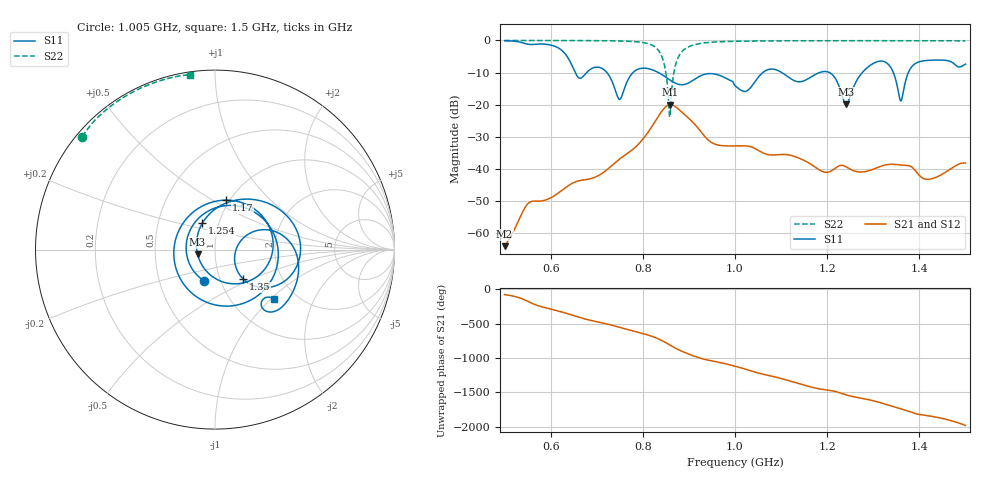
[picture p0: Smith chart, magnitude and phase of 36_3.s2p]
! TOUCHSTONE file generated by CST MICROWAVE STUDIO
! Date and time: Fri Dec 11 14:17:13 2020
! Project name: Scenario_1_Planar_Body_Tissue_Out_of_Line_v2.cst
! Parameters = {dy1=259.5; L_HA=400; Ltissue=700; MT=2.54; Rad_Dielectric=30; Rad_Lower=7.3; Rad_Upper=30; Wtissue=700; a_HA=580; a_WG=246; b_HA=500; b_WG=121; c_HA=0; c_WG=187; d_feed=85; dx1=520; h_feed=15; h_lower=18; h_upper=40; hfat=3; hgap=25; hmuscle=50; hskin=1.5}
! Header version: 2018
! Port assignment regex: !\s*Touchstone port\s*([0-9]+)\s*=\s*(CST MWS port|CST DS port)\s*([0-9]+|Zmin|Zmax)\s*\(\"(.*)\"\)(\s*mode\s*([0-9]+))?.*
! Touchstone port assignment:
! Touchstone port 1 = CST MWS port 1 ("")
! Touchstone port 2 = CST MWS port 2 ("")
# GHz S DB R 50
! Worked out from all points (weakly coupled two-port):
!   1003 points, 500 MHz to 1.5 GHz, reference 50 ohm
!   highest |S21| = -20.02 dB at 860 MHz (marker M1); lowest = -64.1 dB at 500 MHz (marker M2)
!   lowest |S11| = -20.0 dB at 1.241 GHz (marker M3), VSWR 1.22, Z = 41.1 - j2.12 ohm
!   |S11| at or under -10 dB: 833.6 MHz to 1.061 GHz (226.9 MHz wide, 24 % of centre); 1.101 GHz to 1.184 GHz (82.25 MHz wide, 7.2 % of centre); 1.205 GHz to 1.276 GHz (71.49 MHz wide, 5.76 % of centre) (the widest 3 of 6)
!   |S22| runs from -23.9 to 0.0 dB; largest |S21 - S12| = 5.3e-06
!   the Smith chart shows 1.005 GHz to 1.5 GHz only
!   S11 on the Smith chart (normalised r, x): 1.005 GHz: 0.83, -0.30; 1.17 GHz: 0.97, +0.58; 1.254 GHz: 0.83, +0.25; 1.35 GHz: 1.28, -0.44; 1.5 GHz: 1.55, -1.04
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0.5  -0.09 -121.9  -64.13 -73.8  -64.13 -73.8  -0.01 151.2
0.598  -1.38 -175.0  -49.21 77.4  -49.21 77.4  -0.02 144.3
0.633  -4.46 147.5  -45.82 14.5  -45.82 14.5  -0.03 141.5
0.667  -11.64 160.1  -43.58 -56.4  -43.58 -56.4  -0.04 138.4
0.743  -16.72 20.1  -37.71 -179.9  -37.71 -179.9  -0.14 128.8
0.789  -8.99 162.0  -32.54 97.0  -32.54 97.0  -0.46 117.5
0.834  -10.03 57.1  -23.61 -2.0  -23.61 -2.0  -3.12 84.5
0.86  -12.46 -12.7  -20.02 -96.9  -20.02 -96.9  -21.13 -96.5
0.888  -13.78 -106.8  -22.78 168.9  -22.78 168.9  -3.02 178.2
0.934  -10.56 85.8  -29.86 60.1  -29.86 60.1  -0.76 153.5
1  -14.10 -95.6  -32.89 -39.8  -32.89 -39.8  -0.27 140.3
1.005  -14.71 -109.8  -32.87 -48.8  -32.87 -48.8  -0.25 139.7
1.051  -11.40 65.5  -34.32 -140.6  -34.32 -140.6  -0.17 134.4
1.103  -10.14 -87.2  -35.53 135.1  -35.53 135.1  -0.12 129.5
1.167  -11.22 84.4  -38.80 12.9  -38.80 12.9  -0.10 124.3
1.17  -10.97 77.0  -39.09 8.0  -39.09 8.0  -0.10 124.0
1.203  -9.88 -2.0  -41.03 -30.4  -41.03 -30.4  -0.09 121.5
1.241  -19.96 -165.3  -39.39 -98.7  -39.39 -98.7  -0.09 118.6
1.254  -15.72 115.3  -40.40 -120.3  -40.41 -120.3  -0.08 117.6
1.334  -7.63 -26.7  -38.64 110.2  -38.64 110.2  -0.09 111.6
1.35  -12.93 -46.2  -38.68 77.3  -38.68 77.3  -0.09 110.3
1.5  -7.40 -40.1  -38.24 175.3  -38.24 175.3  -0.13 98.0
